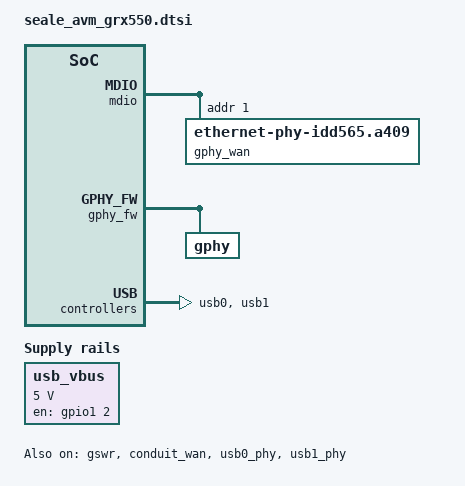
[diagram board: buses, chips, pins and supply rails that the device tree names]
// SPDX-License-Identifier: GPL-2.0-only
// Copyright (C) 2026 Grische <github@grische.xyz>
/*
 * AVM FRITZ!Box boards on the GRX550 die. Die-variant layer between
 * seale_avm.dtsi and the board files: the fifth GPHY and its WAN port, the
 * second MDIO bus, the front-panel LED controller and both USB host
 * controllers.
 */

#include <dt-bindings/clock/intel,grx500-clk.h>
#include <dt-bindings/gpio/gpio.h>

#include "seale_avm.dtsi"

/ {
	/*
	 * One enable line feeds both USB PHYs. Both take it as their
	 * vbus-supply, which is legal and refcounted:
	 * regulator_get_optional() is not an exclusive get, so a second
	 * consumer is not turned away.
	 */
	usb_vbus: regulator-usb-vbus {
		compatible = "regulator-fixed";
		regulator-name = "usb_vbus";
		regulator-min-microvolt = <5000000>;
		regulator-max-microvolt = <5000000>;
		gpio = <&gpio1 2 GPIO_ACTIVE_HIGH>;
		enable-active-high;
	};

	/*
	 * The blink generator's slow clock source: a fixed 8 kHz input the
	 * driver divides for its blink table.
	 */
	sso_fpid: clock-8000 {
		compatible = "fixed-clock";
		#clock-cells = <0>;
		clock-frequency = <8000>;
	};

	/*
	 * The front-panel LED controller. Four constraints:
	 *
	 * - "syscon" must stay in the compatible or syscon_node_to_regmap()
	 *   fails.
	 * - The clock-names order matters: clock 0 gates register access.
	 * - The compatible selects the falling shift-clock edge. The vendor
	 *   driver
	 * defaults this SoC to the falling edge and treats rising as an
	 * opt-in
	 * device-tree property that no board sets; mainline's lgm-sso
	 * hardcodes
	 * rising instead.
	 * - ngpios narrows the controller to the populated pins.
	 */
	ssogpio: ssogpio@16d00000 {
		compatible = "intel,grx500-ssoled", "syscon";
		reg = <0x16d00000 0x2cc>;

		gpio-controller;
		#gpio-cells = <2>;
		ngpios = <8>;

		clocks = <&cgu GCLK_SSO>, <&sso_fpid>;
		clock-names = "sso", "fpid";

		intel,sso-update-rate-hz = <250000>;

		pinctrl-names = "default";
		pinctrl-0 = <&pinctrl_ledc>;
	};
};

/*
 * The second switch macro, which is where this die's WAN socket lands. It is
 * a tree of its own with a conduit of its own: nothing forwards between the
 * two macros in hardware, so a bridge spanning them would blackhole, and a
 * conduit carries exactly one CPU port.
 */
&gswr {
	status = "okay";

	/*
	 * The same sub-aperture of the same block as the LAN macro's bus, so
	 * the driver reaches it through the identical offset from this node's
	 * own window.
	 *
	 * The address on the bus is 1, which is the number of the register
	 * slots the external port's PHY address is written into. It has
	 * nothing to do with the port's own number.
	 */
	mdio {
		#address-cells = <1>;
		#size-cells = <0>;

		gphy_wan: ethernet-phy@1 {
			compatible = "ethernet-phy-idd565.a409",
				     "ethernet-phy-ieee802.3-c22";
			reg = <0x01>;
		};
	};

	ports {
		port@f {
			reg = <15>;
			label = "wan";
			phy-mode = "internal";
			phy-handle = <&gphy_wan>;
		};
	};
};

&conduit_wan {
	status = "okay";
};

/*
 * The fifth integrated PHY, which carries the WAN socket. On this die request
 * bit 31 is that core's own reset line and not a group master reset, which is
 * how the vendor device tree names it. Its status is reported in bit 30, and
 * bit 31 of the status register belongs to the watchdog instead.
 */
&gphy_fw {
	gphy@f9a {
		reg = <0xf9a>;
		resets = <&rcu_reset0 31 30>;
		reset-names = "gphy";
	};
};

&usb0_phy {
	status = "okay";
	vbus-supply = <&usb_vbus>;
};

&usb0 {
	status = "okay";
};

&usb1_phy {
	status = "okay";
	vbus-supply = <&usb_vbus>;
};

&usb1 {
	status = "okay";
};

/*
 * The three pads the shift register hangs off. Both spellings are required:
 * the pinctrl driver rejects a child that has "groups" without "pins" or
 * "pinmux", and it fails the whole pinctrl probe when it does.
 */
&pinctrl {
	pinctrl_ledc: led-pins {
		pins = <4>, <5>, <6>;
		function = "led";
		pinmux = <1>, <1>, <1>;
		groups = "led";
	};
};
